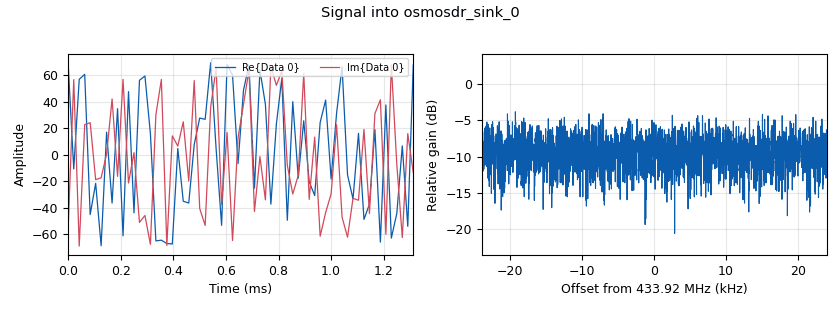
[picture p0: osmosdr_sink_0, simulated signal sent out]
options:
  parameters:
    generate_options: qt_gui
    id: Jamer
    output_language: python
    title: Not titled yet
  states: {}

blocks:
- name: frekans
  id: variable_qtgui_range
  parameters:
    start: 433.92e6
    step: 200e3
    stop: 62e8
    value: 433.92e6
  states: {}
- name: samp_rate
  id: variable
  parameters:
    value: 48e3
  states: {}
- name: analog_noise_source_x_0
  id: analog_noise_source_x
  parameters:
    amp: '99'
    noise_type: analog.GR_UNIFORM
    seed: '99'
    type: complex
  states: {}
- name: osmosdr_sink_0
  id: osmosdr_sink
  parameters:
    bb_gain0: 99999999999999e99
    freq0: frekans
    gain0: 99999999999999e99
    if_gain0: 99999999999999e99
    sample_rate: samp_rate
    sync: sync
    type: fc32
  states: {}

connections:
- [analog_noise_source_x_0, '0', osmosdr_sink_0, '0']

metadata:
  file_format: 1
  grc_version: 3.10.8.0
